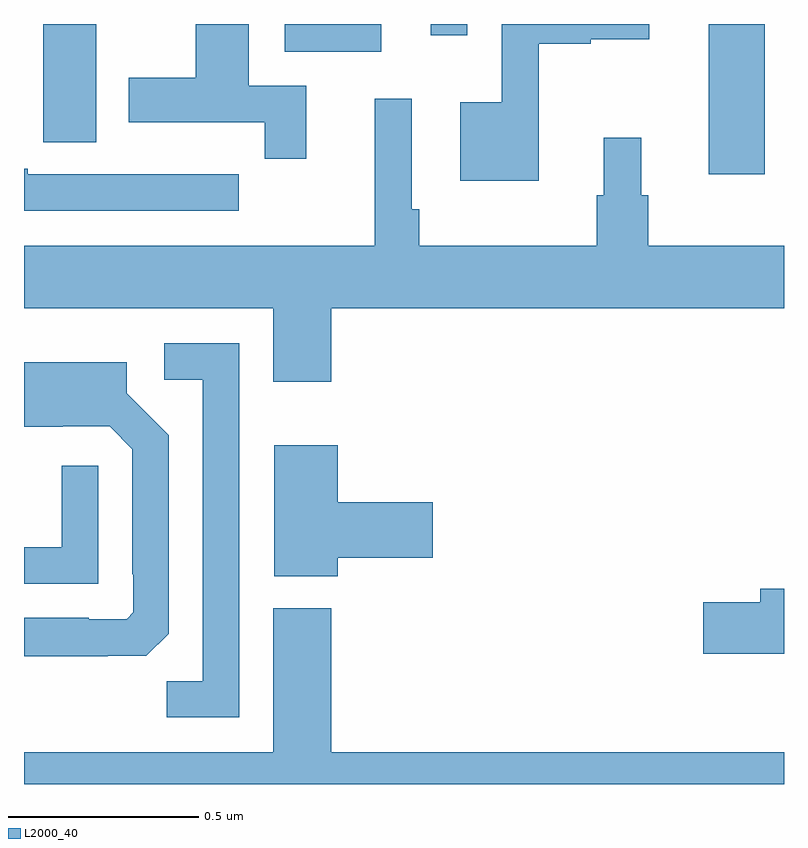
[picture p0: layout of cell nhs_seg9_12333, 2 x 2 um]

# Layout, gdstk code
import gdstk
lib = gdstk.Library(unit=1e-6, precision=1e-09)
def R(c, l, rs):  # rectangles x0, y0, x1, y1
    for r in rs: c.add(gdstk.rectangle(r[:2], r[2:], *l))
def P(c, l, *ps):  # polygons
    for p in ps: c.add(gdstk.Polygon(p, *l))
L2000_40 = (2000, 40)

nhs_seg9_12333 = lib.new_cell('nhs_seg9_12333')
R(nhs_seg9_12333, L2000_40, [(268.802,1198.104,268.949,1198.5), (267.686,1198.427,267.94,1198.5), (268.07,1198.47,268.167,1198.5)])
P(nhs_seg9_12333, L2000_40, [(267.743,1198.338),(267.592,1198.338),(267.592,1198.5),(267.452,1198.5),(267.452,1198.359),(267.275,1198.359),(267.275,1198.242),(267.634,1198.242),(267.634,1198.146),(267.743,1198.146)],
  [(268.354,1198.448),(268.491,1198.448),(268.491,1198.46),(268.645,1198.46),(268.645,1198.5),(268.257,1198.5),(268.257,1198.294),(268.148,1198.294),(268.148,1198.088),(268.354,1198.088)],
  [(267.19,1198.5),(267.05,1198.5),(267.05,1198.297),(267.051,1198.297),(267.051,1198.189),(267.19,1198.189)],
  [(267.809,1197.752),(269,1197.752),(269,1197.916),(268.643,1197.916),(268.643,1198.05),(268.624,1198.05),(268.624,1198.201),(268.526,1198.201),(268.526,1198.05),(268.507,1198.05),(268.507,1197.916),(268.04,1197.916),(268.04,1198.012),(268.02,1198.012),(268.02,1198.303),(267.923,1198.303),(267.923,1197.916),(267,1197.916),(267,1197.752),(267.656,1197.752),(267.656,1197.558),(267.809,1197.558)],
  [(267.565,1198.104),(267.452,1198.104),(267.452,1198.105),(267.286,1198.105),(267.286,1198.104),(267.01,1198.104),(267.01,1198.119),(267,1198.119),(267,1198.008),(267.565,1198.008)],
  [(267.567,1197.66),(267.369,1197.66),(267.369,1197.564),(267.471,1197.564),(267.471,1196.771),(267.376,1196.771),(267.376,1196.676),(267.567,1196.676)],
  [(267.221,1196.837),(267.322,1196.837),(267.381,1196.896),(267.381,1197.418),(267.271,1197.528),(267.271,1197.61),(267,1197.61),(267,1197.44),(267.102,1197.44),(267.102,1197.441),(267.225,1197.441),(267.285,1197.381),(267.285,1197.052),(267.288,1197.052),(267.288,1196.952),(267.27,1196.934),(267.17,1196.934),(267.17,1196.937),(267,1196.937),(267,1196.836),(267.221,1196.836)],
  [(267.826,1197.095),(268.075,1197.095),(268.075,1197.242),(267.826,1197.242),(267.826,1197.391),(267.659,1197.391),(267.659,1197.047),(267.826,1197.047)],
  [(267.195,1197.337),(267.099,1197.337),(267.099,1197.123),(267,1197.123),(267,1197.027),(267.195,1197.027)],
  [(269,1197.014),(268.937,1197.014),(268.937,1196.978),(268.788,1196.978),(268.788,1196.843),(269,1196.843)],
  [(269,1196.584),(267.809,1196.584),(267.809,1196.962),(267.656,1196.962),(267.656,1196.584),(267,1196.584),(267,1196.5),(269,1196.5)])

lib.write_gds('nhs_seg9_12333.gds')
